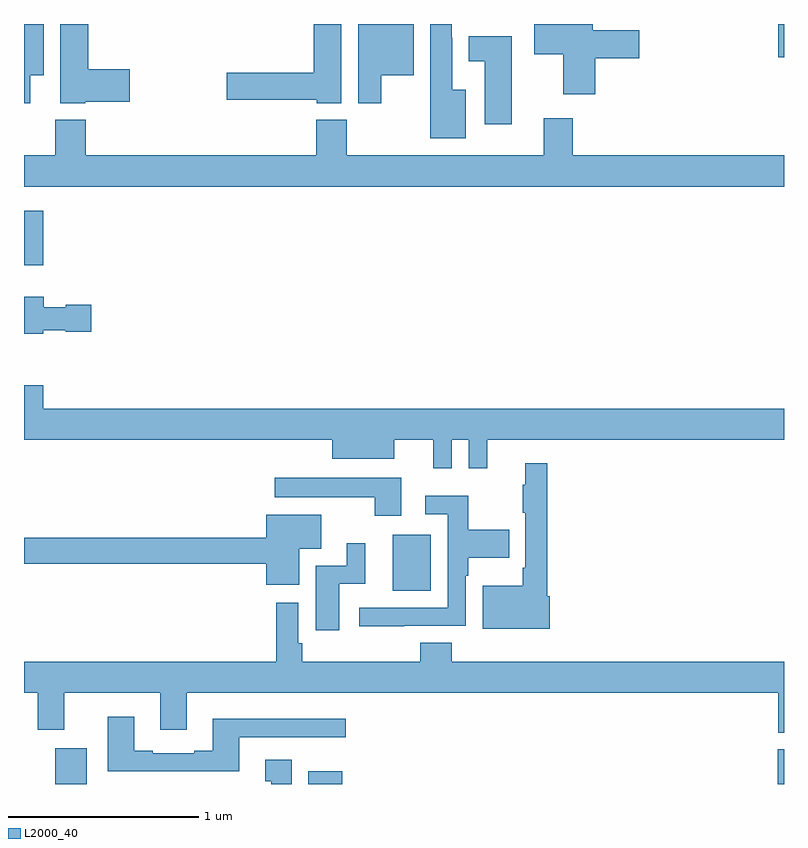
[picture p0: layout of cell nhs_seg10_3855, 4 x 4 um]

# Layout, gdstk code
import gdstk
lib = gdstk.Library(unit=1e-6, precision=1e-09)
def R(c, l, rs):  # rectangles x0, y0, x1, y1
    for r in rs: c.add(gdstk.rectangle(r[:2], r[2:], *l))
def P(c, l, *ps):  # polygons
    for p in ps: c.add(gdstk.Polygon(p, *l))
L2000_40 = (2000, 40)

nhs_seg10_3855 = lib.new_cell('nhs_seg10_3855')
R(nhs_seg10_3855, L2000_40, [(323.165,1302.5,323.329,1302.688), (324.497,1302.5,324.676,1302.568), (326.966,1302.5,327,1302.684), (324.941,1303.517,325.141,1303.813), (323,1305.23,323.102,1305.517), (326.97,1306.325,327,1306.5)])
P(nhs_seg10_3855, L2000_40, [(323.322,1306.091),(323.557,1306.091),(323.557,1306.262),(323.339,1306.262),(323.339,1306.5),(323.192,1306.5),(323.192,1306.082),(323.322,1306.082)],
  [(324.88,1306.229),(325.051,1306.229),(325.051,1306.5),(324.758,1306.5),(324.758,1306.083),(324.88,1306.083)],
  [(323.032,1306.229),(323.104,1306.229),(323.104,1306.5),(323,1306.5),(323,1306.083),(323.032,1306.083)],
  [(324.67,1306.5),(324.524,1306.5),(324.524,1306.244),(324.066,1306.244),(324.066,1306.102),(324.54,1306.102),(324.54,1306.082),(324.67,1306.082)],
  [(325.324,1306.153),(325.255,1306.153),(325.255,1306.427),(325.251,1306.427),(325.251,1306.5),(325.139,1306.5),(325.139,1305.899),(325.324,1305.899)],
  [(326.006,1306.319),(326.239,1306.319),(326.239,1306.466),(325.993,1306.466),(325.993,1306.5),(325.686,1306.5),(325.686,1306.342),(325.838,1306.342),(325.838,1306.131),(326.006,1306.131)],
  [(325.567,1306.435),(325.34,1306.435),(325.34,1306.304),(325.424,1306.304),(325.424,1305.972),(325.567,1305.972)],
  [(327,1305.808),(325.889,1305.808),(325.889,1306.003),(325.736,1306.003),(325.736,1305.808),(324.699,1305.808),(324.699,1305.997),(324.539,1305.997),(324.539,1305.808),(323.324,1305.808),(323.324,1305.997),(323.164,1305.997),(323.164,1305.808),(323,1305.808),(323,1305.644),(327,1305.644)],
  [(323.1,1304.888),(323.22,1304.888),(323.22,1304.881),(323.353,1304.881),(323.353,1305.023),(323.22,1305.023),(323.22,1305.01),(323.104,1305.01),(323.104,1305.064),(323,1305.064),(323,1304.87),(323.1,1304.87)],
  [(325.251,1304.312),(325.341,1304.312),(325.341,1304.163),(325.439,1304.163),(325.439,1304.312),(327,1304.312),(327,1304.476),(323.102,1304.476),(323.102,1304.6),(323,1304.6),(323,1304.312),(324.623,1304.312),(324.623,1304.213),(324.949,1304.213),(324.949,1304.312),(325.154,1304.312),(325.154,1304.163),(325.251,1304.163)],
  [(325.768,1303.487),(325.754,1303.487),(325.754,1304.188),(325.637,1304.188),(325.637,1304.075),(325.626,1304.075),(325.626,1303.927),(325.638,1303.927),(325.638,1303.639),(325.626,1303.639),(325.626,1303.543),(325.415,1303.543),(325.415,1303.316),(325.768,1303.316)],
  [(324.985,1304.113),(324.321,1304.113),(324.321,1304.009),(324.845,1304.009),(324.845,1303.911),(324.985,1303.911)],
  [(325.001,1303.332),(325.326,1303.332),(325.326,1303.595),(325.339,1303.595),(325.339,1303.691),(325.553,1303.691),(325.553,1303.839),(325.339,1303.839),(325.339,1304.017),(325.113,1304.017),(325.113,1303.92),(325.23,1303.92),(325.23,1303.428),(324.765,1303.428),(324.765,1303.331),(325.001,1303.331)],
  [(324.448,1303.739),(324.565,1303.739),(324.565,1303.918),(324.275,1303.918),(324.275,1303.796),(323,1303.796),(323,1303.66),(324.275,1303.66),(324.275,1303.55),(324.448,1303.55)],
  [(324.658,1303.554),(324.796,1303.554),(324.796,1303.768),(324.698,1303.768),(324.698,1303.65),(324.536,1303.65),(324.536,1303.308),(324.658,1303.308)],
  [(327,1303.144),(325.25,1303.144),(325.25,1303.243),(325.085,1303.243),(325.085,1303.144),(324.464,1303.144),(324.464,1303.24),(324.444,1303.24),(324.444,1303.453),(324.328,1303.453),(324.328,1303.144),(323,1303.144),(323,1302.98),(323.072,1302.98),(323.072,1302.786),(323.212,1302.786),(323.212,1302.98),(323.717,1302.98),(323.717,1302.786),(323.857,1302.786),(323.857,1302.98),(326.969,1302.98),(326.969,1302.769),(327,1302.769)],
  [(324.133,1302.747),(324.694,1302.747),(324.694,1302.844),(323.993,1302.844),(323.993,1302.676),(323.897,1302.676),(323.897,1302.663),(323.677,1302.663),(323.677,1302.676),(323.581,1302.676),(323.581,1302.853),(323.441,1302.853),(323.441,1302.566),(324.133,1302.566)],
  [(324.409,1302.628),(324.269,1302.628),(324.269,1302.515),(324.302,1302.515),(324.302,1302.5),(324.409,1302.5)])

lib.write_gds('nhs_seg10_3855.gds')
